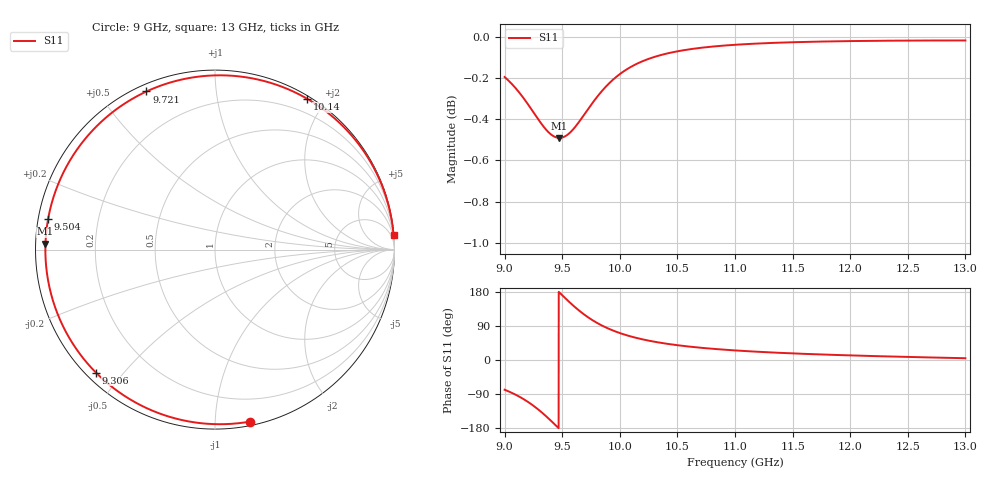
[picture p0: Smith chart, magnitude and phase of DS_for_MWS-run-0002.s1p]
! TOUCHSTONE file generated by CST DESIGN STUDIO
! Date and time: Tue Feb  4 13:36:33 2025
! Project name: C:\Work\MatlabApps\UnitCellOptimizationMatlab\CST\unitcell.cst
! Tree item: Tasks\Sweep1\SPara1\S-Parameters
! Header version: 2024
! Port assignment regex: !\s*Touchstone port\s*([0-9]+)\s*=\s*(CST MWS port|CST DES external port|CST DES block port)\s*(.+)\s* \(\"(.*)\"\)(\s*mode\s*([0-9]+))?.*
! Touchstone port assignment:
! Touchstone port 1 = CST DES external port 1 ("")
# GHz S MA R 50
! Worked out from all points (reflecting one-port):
!   4001 points, 9 GHz to 13 GHz, reference 50 ohm
!   lowest |S11| = -0.5 dB at 9.476 GHz (marker M1), VSWR 35.43, Z = 1.41 + j0.874 ohm
!   phase of S11 starts at -78 deg and turns -277 deg over the sweep
!   S11 on the Smith chart (normalised r, x): 9 GHz: 0.03, -1.22; 9.306 GHz: 0.03, -0.42; 9.504 GHz: 0.03, +0.09; 9.721 GHz: 0.03, +0.66; 10.14 GHz: 0.03, +1.78; 13 GHz: 1, +24
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9  0.9779 -78.5
9.076  0.9732 -88.6
9.173  0.9656 -104.8
9.242  0.9595 -118.9
9.306  0.9537 -134.1
9.351  0.9501 -145.9
9.398  0.9472 -159.0
9.438  0.9456 -170.7
9.476  0.9451 178.0
9.5  0.9453 170.9
9.504  0.9454 169.7
9.556  0.9473 154.6
9.616  0.9512 138.2
9.668  0.9555 125.3
9.721  0.9601 113.4
9.777  0.965 102.4
9.839  0.9698 91.9
9.918  0.9751 80.6
10  0.9794 71.1
10.141  0.9849 58.5
10.303  0.989 48.1
10.5  0.992 39.1
10.722  0.9941 31.8
11  0.9957 25.3
11.5  0.9971 17.4
12  0.9977 12.1
12.5  0.998 8.1
13  0.9981 4.7
